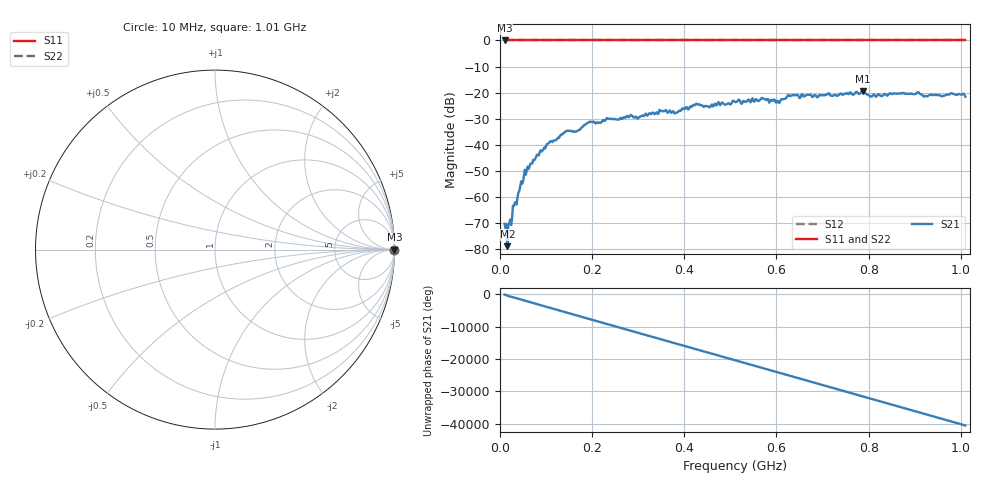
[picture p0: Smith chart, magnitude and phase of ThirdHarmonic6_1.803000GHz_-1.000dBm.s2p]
! 8/16/2025 9:49:54 PM
! C:\ANRITSUVNA\TEMP\TEMP.S2P
! CHANNEL.1
! TR.MEASUREMENT
! RAW.DATA
! RF.CORRECTION.OFF
! AVERAGING.OFF
! IF.BANDWIDTH: 5KHZ
! SWEEPTYPE:  FREQ.SWEEP(Linear)
! Reference Plane Port Info
! PORT:  PORT1  PORT2
! DISTANCE:  0  m  0  m
! TIME:  0  s  0  s
! PHASE.OFFSET:  0  deg.  0  deg.
! LOSS:  0  dB  0  dB
! REF.LOSS:  0  dB  0  dB
! REF.FREQ:  0  Hz  0  Hz
! Power Info
! POWER:  -20  dBm  -20  dBm
! EFF.POWER:  -20  dBm  -20  dBm
! SOURCE.ATTEN:  0  dB  0  dB
! TEST.ATTEN:  0  dB  0  dB
# GHZ S RI R 50.0
! FREQ.GHZ  S11RE  S11IM  S21RE  S21IM  S12RE  S12IM  S22RE  S22IM
!; PortSelection: Port_12
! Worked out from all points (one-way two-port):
!   501 points, 10 MHz to 1.01 GHz, reference 50 ohm
!   highest |S21| = -19.38 dB at 788 MHz (marker M1); lowest = -78.8 dB at 16 MHz (marker M2)
!   lowest |S11| = 0.0 dB at 10 MHz (marker M3)
!   |S11| at or under -10 dB: nowhere
!   |S22| runs from 0.0 to 0.0 dB; largest |S21 - S12| = 1.1
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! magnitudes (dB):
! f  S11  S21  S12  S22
! 10 MHz  0.0  -70.2  0.0  0.0
! 16 MHz  0.0  -78.8  0.0  0.0
! 20 MHz  0.0  -70.2  0.0  0.0
! 30 MHz  0.0  -63.4  0.0  0.0
! 50 MHz  0.0  -54.0  0.0  0.0
! 76 MHz  0.0  -45.5  0.0  0.0
! 106 MHz  0.0  -39.3  0.0  0.0
! 142 MHz  0.0  -35.0  0.0  0.0
! 178 MHz  0.0  -33.3  0.0  0.0
! 196 MHz  0.0  -31.1  0.0  0.0
! 344 MHz  0.0  -28.1  0.0  0.0
! 382 MHz  0.0  -27.7  0.0  0.0
! 424 MHz  0.0  -24.6  0.0  0.0
! 510 MHz  0.0  -23.6  0.0  0.0
! 570 MHz  0.0  -22.0  0.0  0.0
! 602 MHz  0.0  -23.1  0.0  0.0
! 628 MHz  0.0  -21.1  0.0  0.0
! 678 MHz  0.0  -21.7  0.0  0.0
! 788 MHz  0.0  -19.4  0.0  0.0
! 804 MHz  0.0  -21.5  0.0  0.0
! 844 MHz  0.0  -20.5  0.0  0.0
! 1.01 GHz  0.0  -21.6  0.0  0.0
